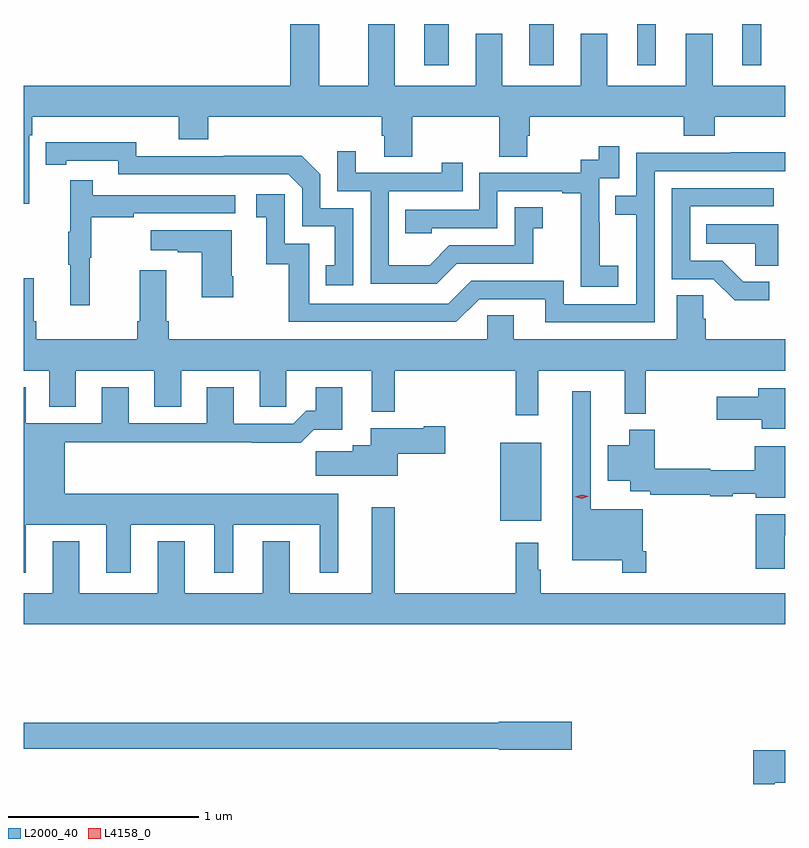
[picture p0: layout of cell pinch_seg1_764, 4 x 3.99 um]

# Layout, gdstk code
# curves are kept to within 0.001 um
import gdstk
lib = gdstk.Library(unit=1e-6, precision=1e-09)
def R(c, l, rs):  # rectangles x0, y0, x1, y1
    for r in rs: c.add(gdstk.rectangle(r[:2], r[2:], *l))
def P(c, l, *ps):  # polygons
    for p in ps: c.add(gdstk.Polygon(p, *l))
L2000_40 = (2000, 40)
L4158_0 = (4158, 0)

pinch_seg1_764 = lib.new_cell('pinch_seg1_764')
R(pinch_seg1_764, L2000_40, [(553.634,573.587,553.849,573.997), (553.235,575.979,553.363,576.196), (553.787,575.979,553.915,576.196), (554.354,575.979,554.452,576.196), (554.906,575.979,555.004,576.196)])
P(pinch_seg1_764, L2000_40, [(551.163,575.612),(551.177,575.612),(551.177,575.708),(551.948,575.708),(551.948,575.591),(552.101,575.591),(552.101,575.708),(553.013,575.708),(553.013,575.61),(553.025,575.61),(553.025,575.5),(553.173,575.5),(553.173,575.708),(553.63,575.708),(553.63,575.5),(553.777,575.5),(553.777,575.61),(553.79,575.61),(553.79,575.708),(554.597,575.708),(554.597,575.609),(554.762,575.609),(554.762,575.708),(555.132,575.708),(555.132,575.872),(554.749,575.872),(554.749,576.145),(554.609,576.145),(554.609,575.872),(554.197,575.872),(554.197,576.145),(554.057,576.145),(554.057,575.872),(553.645,575.872),(553.645,576.145),(553.505,576.145),(553.505,575.872),(553.081,575.872),(553.081,576.196),(552.941,576.196),(552.941,575.872),(552.685,575.872),(552.685,576.196),(552.533,576.196),(552.533,575.872),(551.132,575.872),(551.132,575.253),(551.163,575.253)],
  [(552.864,575.229),(552.69,575.229),(552.69,575.406),(552.592,575.504),(552.184,575.504),(552.184,575.502),(551.724,575.502),(551.724,575.575),(551.248,575.574),(551.248,575.458),(551.356,575.458),(551.356,575.478),(551.628,575.478),(551.628,575.406),(552.522,575.406),(552.594,575.334),(552.594,575.133),(552.767,575.133),(552.767,574.929),(552.718,574.929),(552.718,574.824),(552.864,574.824)],
  [(554.254,574.927),(554.156,574.927),(554.156,575.156),(554.154,575.156),(554.154,575.385),(554.259,575.385),(554.259,575.554),(554.151,575.554),(554.151,575.484),(554.058,575.484),(554.058,575.415),(553.524,575.415),(553.524,575.22),(553.135,575.22),(553.135,575.097),(553.275,575.097),(553.275,575.124),(553.62,575.124),(553.62,575.319),(553.961,575.319),(553.961,575.307),(554.057,575.307),(554.057,575.023),(554.056,575.023),(554.056,574.817),(554.254,574.817)],
  [(553.405,574.938),(553.809,574.938),(553.809,575.123),(553.858,575.123),(553.858,575.233),(553.71,575.233),(553.71,575.034),(553.368,575.034),(553.264,574.93),(553.05,574.93),(553.05,575.319),(553.439,575.319),(553.439,575.467),(553.328,575.467),(553.328,575.415),(552.877,575.415),(552.877,575.527),(552.78,575.527),(552.78,575.319),(552.954,575.319),(552.954,574.833),(553.3,574.833)],
  [(554.445,575.424),(555.132,575.424),(555.132,575.522),(554.845,575.522),(554.845,575.52),(554.349,575.52),(554.349,575.295),(554.239,575.295),(554.239,575.194),(554.349,575.194),(554.349,574.725),(553.968,574.725),(553.968,574.848),(553.482,574.848),(553.362,574.728),(552.633,574.728),(552.633,575.043),(552.504,575.043),(552.504,575.302),(552.354,575.302),(552.354,575.181),(552.407,575.181),(552.407,574.935),(552.525,574.935),(552.525,574.632),(553.404,574.632),(553.524,574.752),(553.871,574.752),(553.871,574.629),(554.445,574.629)],
  [(551.48,574.968),(551.488,574.968),(551.488,575.182),(551.711,575.182),(551.711,575.202),(552.244,575.202),(552.244,575.298),(551.495,575.298),(551.495,575.377),(551.378,575.377),(551.378,575.105),(551.367,575.105),(551.367,574.931),(551.378,574.931),(551.378,574.719),(551.48,574.719)],
  [(555.046,574.842),(554.911,574.842),(554.8,574.953),(554.631,574.953),(554.631,575.238),(555.07,575.238),(555.07,575.334),(554.535,575.334),(554.535,574.857),(554.754,574.857),(554.867,574.745),(555.046,574.745)],
  [(555.094,575.146),(554.716,575.146),(554.716,575.042),(554.973,575.042),(554.973,574.927),(555.094,574.927)],
  [(552.234,574.873),(552.226,574.873),(552.226,575.113),(551.799,575.113),(551.799,575.009),(551.942,575.009),(551.942,574.999),(552.068,574.999),(552.068,574.761),(552.234,574.761)],
  [(553.835,574.376),(554.288,574.376),(554.288,574.151),(554.398,574.151),(554.398,574.376),(555.132,574.376),(555.132,574.54),(554.714,574.54),(554.714,574.649),(554.7,574.649),(554.7,574.772),(554.561,574.772),(554.561,574.54),(553.705,574.54),(553.705,574.667),(553.566,574.667),(553.566,574.54),(551.894,574.54),(551.894,574.636),(551.881,574.636),(551.881,574.903),(551.741,574.903),(551.741,574.636),(551.729,574.636),(551.729,574.54),(551.198,574.54),(551.198,574.636),(551.185,574.636),(551.185,574.861),(551.132,574.861),(551.132,574.376),(551.267,574.376),(551.267,574.186),(551.407,574.186),(551.407,574.376),(551.819,574.376),(551.819,574.186),(551.959,574.186),(551.959,574.376),(552.371,574.376),(552.371,574.186),(552.51,574.186),(552.51,574.376),(552.959,574.376),(552.959,574.16),(553.081,574.16),(553.081,574.376),(553.717,574.376),(553.717,574.143),(553.835,574.143)],
  [(551.143,573.566),(551.567,573.566),(551.567,573.315),(551.695,573.315),(551.695,573.566),(552.134,573.566),(552.134,573.315),(552.232,573.315),(552.232,573.566),(552.686,573.566),(552.686,573.315),(552.784,573.315),(552.784,573.73),(551.347,573.73),(551.347,574),(552.331,574),(552.331,573.998),(552.587,573.998),(552.656,574.067),(552.805,574.067),(552.805,574.288),(552.665,574.288),(552.665,574.165),(552.616,574.165),(552.549,574.098),(552.235,574.098),(552.235,574.288),(552.095,574.288),(552.095,574.101),(551.683,574.101),(551.683,574.288),(551.543,574.288),(551.543,574.101),(551.143,574.101),(551.143,574.288),(551.132,574.288),(551.132,573.315),(551.143,573.315)],
  [(555.132,574.285),(554.989,574.285),(554.989,574.24),(554.772,574.24),(554.772,574.118),(555.008,574.118),(555.008,574.07),(555.132,574.07)],
  [(554.402,573.427),(554.382,573.427),(554.382,573.649),(554.109,573.649),(554.109,574.267),(554.012,574.267),(554.012,573.38),(554.274,573.38),(554.274,573.315),(554.402,573.315)],
  [(553.096,573.941),(553.345,573.941),(553.345,574.083),(553.232,574.083),(553.232,574.075),(552.956,574.075),(552.956,573.985),(552.86,573.985),(552.86,573.953),(552.666,573.953),(552.666,573.824),(553.096,573.824)],
  [(555.132,573.98),(554.972,573.98),(554.972,573.853),(554.736,573.853),(554.736,573.86),(554.447,573.86),(554.447,574.066),(554.312,574.066),(554.312,573.985),(554.198,573.985),(554.198,573.797),(554.318,573.797),(554.318,573.744),(554.422,573.744),(554.422,573.724),(554.736,573.724),(554.736,573.716),(554.856,573.716),(554.856,573.731),(554.976,573.731),(554.976,573.71),(555.132,573.71)],
  [(555.132,573.208),(553.846,573.208),(553.846,573.332),(553.834,573.332),(553.834,573.472),(553.717,573.472),(553.717,573.208),(553.081,573.208),(553.081,573.658),(552.959,573.658),(552.959,573.208),(552.529,573.208),(552.529,573.481),(552.389,573.481),(552.389,573.208),(551.977,573.208),(551.977,573.481),(551.837,573.481),(551.837,573.208),(551.425,573.208),(551.425,573.481),(551.285,573.481),(551.285,573.208),(551.132,573.208),(551.132,573.044),(555.132,573.044)],
  [(555.127,573.513),(555.132,573.513),(555.132,573.622),(554.975,573.622),(554.975,573.336),(555.127,573.336)],
  [(554.011,572.534),(553.626,572.534),(553.626,572.528),(551.132,572.528),(551.132,572.392),(553.626,572.392),(553.626,572.387),(554.011,572.387)],
  [(555.076,572.213),(555.132,572.213),(555.132,572.384),(554.964,572.384),(554.964,572.206),(555.076,572.206)])
P(pinch_seg1_764, L4158_0, [(554.063,573.704),(554.027,573.713),(554.027,573.713),(554.027,573.713),(554.062,573.724),(554.098,573.716),(554.099,573.716),(554.098,573.716)])

lib.write_gds('pinch_seg1_764.gds')
